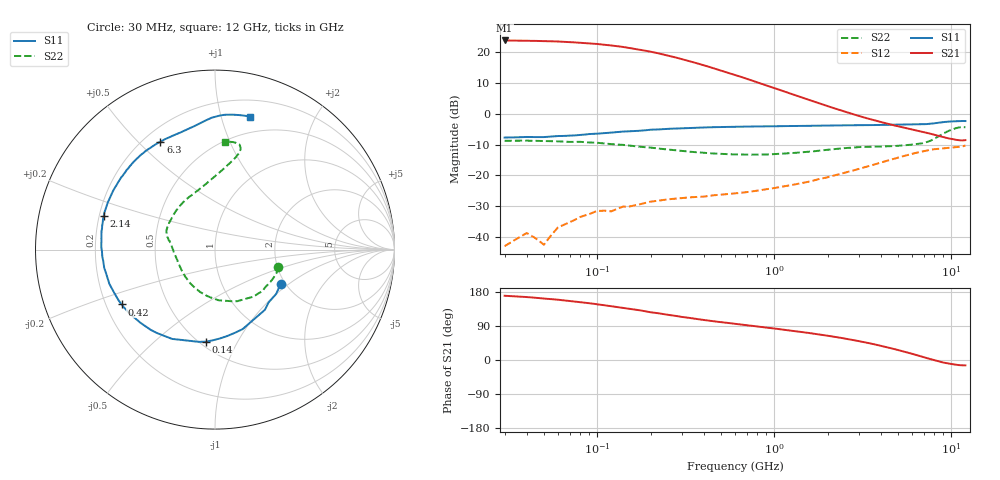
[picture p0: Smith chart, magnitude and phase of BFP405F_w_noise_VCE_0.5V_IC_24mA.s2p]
! Infineon Technologies  Discrete & RF Semiconductors
! BFP405F
! VCE =  0.5 V,  IC =  24 mA
! Common Emitter S-Parameters:  Nov 2015
# GHz  S  MA  R  50
!  f  S11  S21  S12  S22
! GHz  MAG  ANG  MAG  ANG  MAG  ANG  MAG  ANG
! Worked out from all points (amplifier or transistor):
!   239 points, 30 MHz to 12 GHz, reference 50 ohm
!   highest |S21| = 23.8 dB at 30 MHz (marker M1)
!   |S21| within 3 dB of that: start of sweep to 174.1 MHz
!   unconditionally stable (mu >= 1): start of sweep to 97.44 MHz; 113.3 MHz to 122.9 MHz; 308.5 MHz to end of sweep
!   at 300 MHz: K = 0.99, MSG = 22.6 dB, |S12| = -27.4 dB
!   at 1.88 GHz: K = 2.35, MAG = 5.5 dB, |S12| = -21.0 dB
!   at 12 GHz: K = 1.67, MAG = -3.9 dB, |S12| = -10.3 dB
!   lowest NFmin = 2.43 dB at 450 MHz
!   S11 on the Smith chart (normalised r, x): 30 MHz: 1.89, -0.87; 140 MHz: 0.54, -0.75; 420 MHz: 0.26, -0.25; 2.14 GHz: 0.22, +0.14; 6.3 GHz: 0.26, +0.58; 12 GHz: 0.35, +1.24
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0.03  0.4121 -27.4  15.53 169.5  0.0071 81.0  0.3652 -15.2
0.04  0.421 -35.9  15.38 166.1  0.0116 64.5  0.3667 -20.8
0.05  0.4192 -44.5  15.17 162.2  0.0075 58.6  0.362 -25.7
0.055  0.4269 -47.5  15.05 160.7  0.0107 72.2  0.3595 -27.9
0.065  0.4377 -54.5  14.76 157.4  0.0158 73.5  0.3532 -33.2
0.085  0.4605 -68.0  14.1 151.2  0.0223 57.8  0.3467 -43.4
0.105  0.4809 -79.2  13.42 145.8  0.0266 60.9  0.3343 -52.5
0.14  0.515 -95.5  12.18 137.4  0.0312 56.5  0.3133 -66.5
0.175  0.5317 -108.0  10.96 131.0  0.0342 49.6  0.2918 -77.9
0.2  0.5521 -115.7  10.21 126.0  0.0375 46.3  0.2829 -86.1
0.24  0.5662 -124.8  9.089 120.7  0.0402 43.9  0.2666 -96.1
0.3  0.5822 -135.6  7.742 113.7  0.0429 40.4  0.2498 -109.7
0.42  0.6035 -149.6  5.889 104.4  0.0462 38.2  0.2307 -128.2
0.5  0.6102 -155.9  5.036 99.8  0.0487 36.8  0.2239 -138.0
0.6  0.6187 -162.0  4.262 95.4  0.051 38.5  0.2194 -146.6
1  0.6291 -176.4  2.614 83.0  0.0623 41.0  0.2222 -169.4
1.64  0.6403 170.6  1.616 70.0  0.0817 45.6  0.2453 173.8
2.14  0.6478 163.2  1.251 61.8  0.0981 46.3  0.2666 167.2
4.5  0.6639 135.9  0.675 31.9  0.1789 37.8  0.2971 145.4
6.3  0.6739 116.8  0.54 13.5  0.2322 25.5  0.3218 120.2
10  0.7527 86.1  0.392 -10.6  0.2822 1.2  0.552 76.1
12  0.7632 75.1  0.374 -14.2  0.3065 -4.3  0.6048 84.6
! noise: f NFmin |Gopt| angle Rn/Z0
0.45  2.43  0.04  -155  0.42
0.9  2.46  0.05  -147  0.25
1.5  2.53  0.09  -136  0.33
1.9  2.62  0.1  -132  0.4
2.4  2.79  0.12  -128  0.18
3  2.92  0.13  -125  0.16
3.5  3.04  0.14  -122  0.26
4.5  3.34  0.18  -108  0.56
5.5  3.72  0.34  -88  0.53
